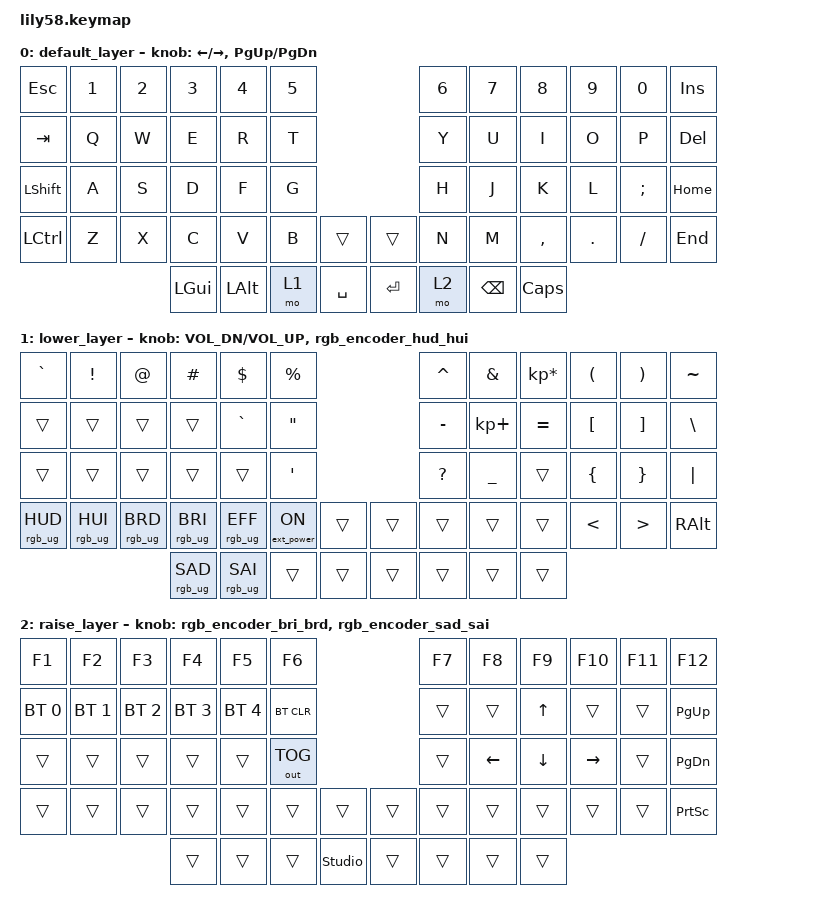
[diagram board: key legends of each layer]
/*
 * Copyright (c) 2020 The ZMK Contributors
 *
 * SPDX-License-Identifier: MIT
 */

#include <behaviors.dtsi>
#include <dt-bindings/zmk/keys.h>
#include <dt-bindings/zmk/bt.h>
#include <dt-bindings/led/led.h>
#include <dt-bindings/zmk/ext_power.h>
#include <dt-bindings/zmk/rgb.h>
#include <dt-bindings/zmk/outputs.h>
#include <dt-bindings/zmk/pointing.h>

#define ZMK_POINTING_DEFAULT_MOVE_VAL 2000  // default: 600
#define ZMK_POINTING_DEFAULT_SCRL_VAL 30   // default: 10
#define ZMK_MOUSE_SCRL_VAL 120

&led_strip {
    chain-length = <35>;
};

/ {
	behaviors {
        rgb_encoder_bri_brd: rgb_encoder_bri_brd {
            compatible = "zmk,behavior-sensor-rotate";
            #sensor-binding-cells = <0>;
            bindings = <&rgb_ug RGB_BRI>, <&rgb_ug RGB_BRD>;
        };

		rgb_encoder_hud_hui: rgb_encoder_hud_hui {
            compatible = "zmk,behavior-sensor-rotate";
            #sensor-binding-cells = <0>;
            bindings = <&rgb_ug RGB_HUD>, <&rgb_ug RGB_HUI>;
        };

		rgb_encoder_sad_sai: rgb_encoder_sad_sai {
            compatible = "zmk,behavior-sensor-rotate";
            #sensor-binding-cells = <0>;
            bindings = <&rgb_ug RGB_SAD>, <&rgb_ug RGB_SAI>;
        };
    };

	keymap {
		compatible = "zmk,keymap";

		default_layer {
// ----------------------------------------------------------------------------------------------------------------
// |  ESC  |  1  |  2  |  3   |  4     |  5    |                   |  6    |  7    |  8    |  9   |   0   | INS   |
// |  TAB  |  Q  |  W  |  E   |  R     |  T    |                   |  Y    |  U    |  I    |  O   |   P   | DEL   |
// | SHIFT |  A  |  S  |  D   |  F     |  G    |                   |  H    |  J    |  K    |  L   |   ;   | HOME  |
// | CTRL  |  Z  |  X  |  C   |  V     |  B    |        |  |       |  N    |  M    |  ,    |  .   |   /   | END   |
//                     | GUI  |  ALT   | LOWER | SPACE  |  | ENTER | RAISE |  BSPC | CAPS  |
			bindings = <
&kp ESC   &kp N1 &kp N2 &kp N3   &kp N4   &kp N5                     	&kp N6 	&kp N7   &kp N8    &kp N9  &kp N0   &kp INS
&kp TAB   &kp Q  &kp W  &kp E    &kp R    &kp T                     	&kp Y  	&kp U    &kp I     &kp O   &kp P    &kp DEL
&kp LSHFT &kp A  &kp S  &kp D    &kp F    &kp G                     	&kp H  	&kp J    &kp K     &kp L   &kp SEMI &kp HOME
&kp LCTRL &kp Z  &kp X  &kp C    &kp V    &kp B  &trans        &trans   &kp N  	&kp M    &kp COMMA &kp DOT &kp FSLH &kp END
                        &kp LGUI &kp LALT &mo 1	 &kp SPACE     &kp RET	&mo 2 	&kp BSPC &kp CAPS
			>;
			sensor-bindings = <&inc_dec_kp LEFT RIGHT>, <&inc_dec_kp PG_UP PAGE_DOWN>;
		};

		lower_layer {
// ------------------------------------------------------------------------------------------------------------
// |   `   |  !  |  @  |  #   |  $   |  %   |                   |  ^   |  &   |  *   |  (   |   )   |   ~   |
// |       |     |     |      |  `   |  "   |                   |  -   |  +   |  =   |  [   |   ]   |   \   |
// |       |     |     |      |      |  '   |                   |  ?   |  _   |      |  {   |   }   |  "|"  |
// |       |     |     |      |      |      |        |  |       |      |      |      |  <   |   >   |  RALT |
//                     |      |      |      |        |  |       |      |      |      |
			bindings = <
&kp GRAVE       &kp EXCL        &kp AT          &kp HASH        &kp DOLLAR      &kp PRCNT                             &kp CARET    &kp AMPS       &kp KP_MULTIPLY &kp LPAR     &kp RPAR      &kp TILDE
&trans          &trans          &trans          &trans          &kp GRAVE       &kp DQT                               &kp MINUS    &kp KP_PLUS    &kp EQUAL       &kp LBKT     &kp RBKT      &kp BSLH
&trans          &trans          &trans          &trans          &trans          &kp SQT                               &kp QMARK    &kp UNDER      &trans      	  &kp LBRC     &kp RBRC      &kp PIPE
&rgb_ug RGB_HUD &rgb_ug RGB_HUI &rgb_ug RGB_BRD &rgb_ug RGB_BRI &rgb_ug RGB_EFF	&ext_power EP_ON  &trans     &trans   &trans       &trans         &trans          &kp LT       &kp GT        &kp RALT
                                                &rgb_ug RGB_SAD &rgb_ug RGB_SAI &trans            &trans     &trans   &trans       &trans         &trans
			>;
			sensor-bindings = <&inc_dec_kp C_VOL_DN C_VOL_UP>, <&rgb_encoder_hud_hui>;
		};

		raise_layer {
// ------------------------------------------------------------------------------------------------------------
// |  F1  |  F2  |  F3  |  F4  |  F5  |  F6   |                   |  F7  |  F8   |  F9   |  F10 |  F11  |  F12  |
// |  BT0 |  BT1 |  BT2 |  BT3 |  BT4 | BTCLR |                   |      |       |   ^   |      |       | PG_UP |
// |      |      |      |      |      |  TOG  |                   |      |   <-  |   v   |  ->  |       | PG_DN |
// |      |      |      |      |      |       |        |  |       |      |       |       |      |       | PSCRN |
//                      |      |      |       | STUD_UNLOCK | |   |      |       |       |
			bindings = <
&kp F1       &kp F2       &kp F3       &kp F4       &kp F5       &kp F6           	                    &kp F7   &kp F8    &kp F9    &kp F10    &kp F11  &kp F12
&bt BT_SEL 0 &bt BT_SEL 1 &bt BT_SEL 2 &bt BT_SEL 3 &bt BT_SEL 4 &bt BT_CLR                             &trans   &trans    &kp UP    &trans     &trans   &kp PG_UP
&trans       &trans       &trans       &trans       &trans       &out OUT_TOG                           &trans   &kp LEFT  &kp DOWN  &kp RIGHT  &trans   &kp PG_DN
&trans       &trans       &trans       &trans       &trans       &trans       &trans           &trans   &trans   &trans    &trans    &trans 	&trans   &kp PSCRN
                                       &trans       &trans       &trans       &studio_unlock   &trans   &trans   &trans    &trans
			>;
			sensor-bindings = <&rgb_encoder_bri_brd>, <&rgb_encoder_sad_sai>;
		};
	};
};
